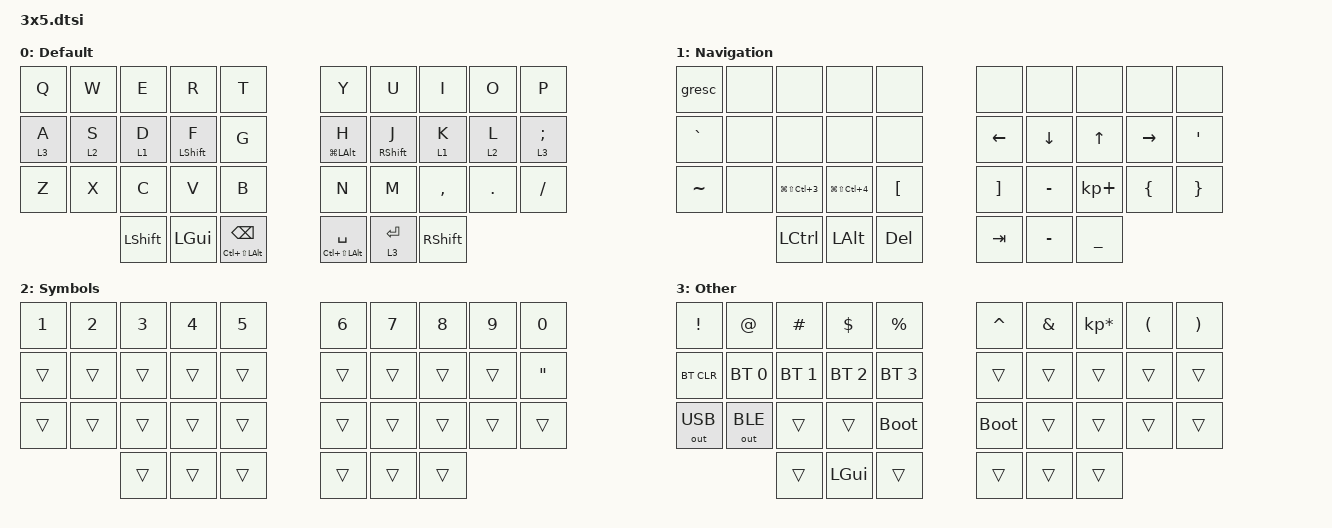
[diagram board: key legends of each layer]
#include <behaviors.dtsi>
#include <dt-bindings/zmk/keys.h>
#include <dt-bindings/zmk/bt.h>
#include <dt-bindings/zmk/outputs.h>

#define QWE 0
#define NAV     1
#define SYM     2
#define OTH     3

#define TAPPING_TERM 200
#define QUICK_TAP    100

// Desktop and tab navigation shortcuts
#define MEH    LC(LS(LALT))
#define HYP    LG(LC(LS(LALT)))

// Key position groups
#define KEYS_L 0 1 2 3 4 10 11 12 13 14 20 21 22 23 24
#define KEYS_R 5 6 7 8 9 15 16 17 18 19 25 26 27 28 29


&mt {
    flavor = "tap-preferred";
	tapping-term-ms = <TAPPING_TERM>;
};

&lt {
    flavor = "tap-preferred";
	tapping-term-ms = <TAPPING_TERM>;
};


/ {
    behaviors {
        hm: layer_mods {
            compatible = "zmk,behavior-hold-tap";
            label = "LAYER_MODS";
            #binding-cells = <2>;
            tapping-term-ms = <TAPPING_TERM>;
            quick_tap_ms = <QUICK_TAP>;
            flavor = "tap-preferred";
            bindings = <&kp>, <&kp>;
        };
        hs: homerow_shift {
            compatible = "zmk,behavior-hold-tap";
            label = "HOMEROW_SHIFT";
            #binding-cells = <2>;
            tapping-term-ms = <TAPPING_TERM>;
            quick_tap_ms = <QUICK_TAP>;
            flavor = "tap-preferred";
            bindings = <&kp>, <&kp>;
        };
    };

   keymap {
        compatible = "zmk,keymap";

        default_layer {
            label = "Default";

            bindings = <
//╭──────────┬──────────┬──────────┬──────────┬──────────╮               ╭──────────┬──────────┬──────────┬──────────┬──────────╮
    &kp Q       &kp W       &kp E     &kp R      &kp T                      &kp Y      &kp U       &kp I       &kp O    &kp P
//├──────────┼──────────┼──────────┼──────────┼──────────┤               ├──────────┼──────────┼──────────┼──────────┼──────────┤
    &lt 3 A     &lt 2 S   &lt 1 D  &hs LSHIFT F   &kp G                &mt LG(LALT) H  &hs RSHFT J   &lt 1 K   &lt 2 L   &lt 3 SEMI
//├──────────┼──────────┼──────────┼──────────┼──────────┤               ├──────────┼──────────┼──────────┼──────────┼──────────┤
     &kp Z       &kp X     &kp C      &kp V      &kp B                      &kp N      &kp M    &kp COMMA    &kp DOT   &kp FSLH
//╰──────────┴──────────┴──────────┼──────────┼──────────╯               ╰─────────┼───────────┼──────────┼──────────┼──────────╯
                         &kp LSHFT   &kp LGUI &mt LC(LS(LALT)) BSPC   &mt LC(LS(LALT)) SPACE &lt 3 ENTER     &kp RSHIFT
//                     ╰───────────┴───────────┴─────────────╯       ╰───────────────────┴───────────────┴───────────────╯
            >;
        };

        nav_layer {
            label = "Navigation";

            bindings = <
//╭──────────┬──────────┬──────────┬──────────┬──────────╮               ╭──────────┬──────────┬──────────┬──────────┬──────────╮
 &gresc         &none      &none        &none      &none                     &none      &none       &none      &none         &none  
//├──────────┼──────────┼──────────┼──────────┼──────────┤               ├──────────┼──────────┼──────────┼──────────┼──────────┤
 &kp GRAVE     &none  &none  &none  &none                 &kp LEFT  &kp DOWN      &kp UP        &kp RIGHT        &kp SQT
//├──────────┼──────────┼──────────┼──────────┼──────────┤               ├──────────┼──────────┼──────────┼──────────┼──────────┤
 &kp TILDE  &none &kp LG(LS(LC(N3))) &kp LG(LS(LC(N4))) &kp LBKT         &kp RBKT &kp MINUS &kp KP_PLUS     &kp LBRC  &kp RBRC
//╰──────────┴──────────┴──────────┼──────────┼──────────╯               ╰─────────┼───────────┼──────────┼──────────┼──────────╯
              &kp LCTL  &kp LALT  &kp DELETE                                        &kp TAB    &kp MINUS   &kp UNDER 
//                     ╰───────────┴───────────┴─────────────╯       ╰───────────────────┴───────────────┴───────────────╯
               >;
        };

        sym_layer {
            label = "Symbols";

            bindings = <
//╭──────────┬──────────┬──────────┬──────────┬──────────╮               ╭──────────┬──────────┬──────────┬──────────┬──────────╮
     &kp N1     &kp N2     &kp N3     &kp N4     &kp N5       &kp N6     &kp N7     &kp N8     &kp N9     &kp N0 
//├──────────┼──────────┼──────────┼──────────┼──────────┤               ├──────────┼──────────┼──────────┼──────────┼──────────┤
    &trans   &trans &trans   &trans     &trans         &trans    &trans    &trans          &trans    &kp DOUBLE_QUOTES
//├──────────┼──────────┼──────────┼──────────┼──────────┤               ├──────────┼──────────┼──────────┼──────────┼──────────┤
    &trans   &trans &trans   &trans     &trans         &trans    &trans    &trans          &trans    &trans
//╰──────────┴──────────┴──────────┼──────────┼──────────╯               ╰─────────┼───────────┼──────────┼──────────┼──────────╯
            &trans        &trans       &trans          &trans &trans &trans
//                     ╰───────────┴───────────┴─────────────╯       ╰───────────────────┴───────────────┴───────────────╯
                >;
        };
        oth_layer {
            label = "Other";

            bindings = <
//╭──────────┬──────────┬──────────┬──────────┬──────────╮               ╭──────────┬──────────┬──────────┬──────────┬──────────╮
     &kp EXCL &kp AT &kp HASH &kp DOLLAR &kp PRCNT    &kp CARET &kp AMPS  &kp KP_MULTIPLY &kp LPAR  &kp RPAR
//├──────────┼──────────┼──────────┼──────────┼──────────┤               ├──────────┼──────────┼──────────┼──────────┼──────────┤
    &bt BT_CLR    &bt BT_SEL 0 &bt BT_SEL 1 &bt BT_SEL 2 &bt BT_SEL 3   &trans &trans &trans &trans &trans
//├──────────┼──────────┼──────────┼──────────┼──────────┤               ├──────────┼──────────┼──────────┼──────────┼──────────┤
    &out OUT_USB  &out OUT_BLE    &trans  &trans &bootloader  &bootloader &trans  &trans &trans &trans
//╰──────────┴──────────┴──────────┼──────────┼──────────╯               ╰─────────┼───────────┼──────────┼──────────┼──────────╯
            &trans    &kp LGUI  &trans        &trans &trans &trans
//                     ╰───────────┴───────────┴─────────────╯       ╰───────────────────┴───────────────┴───────────────╯
                >;
        };
    };
};
